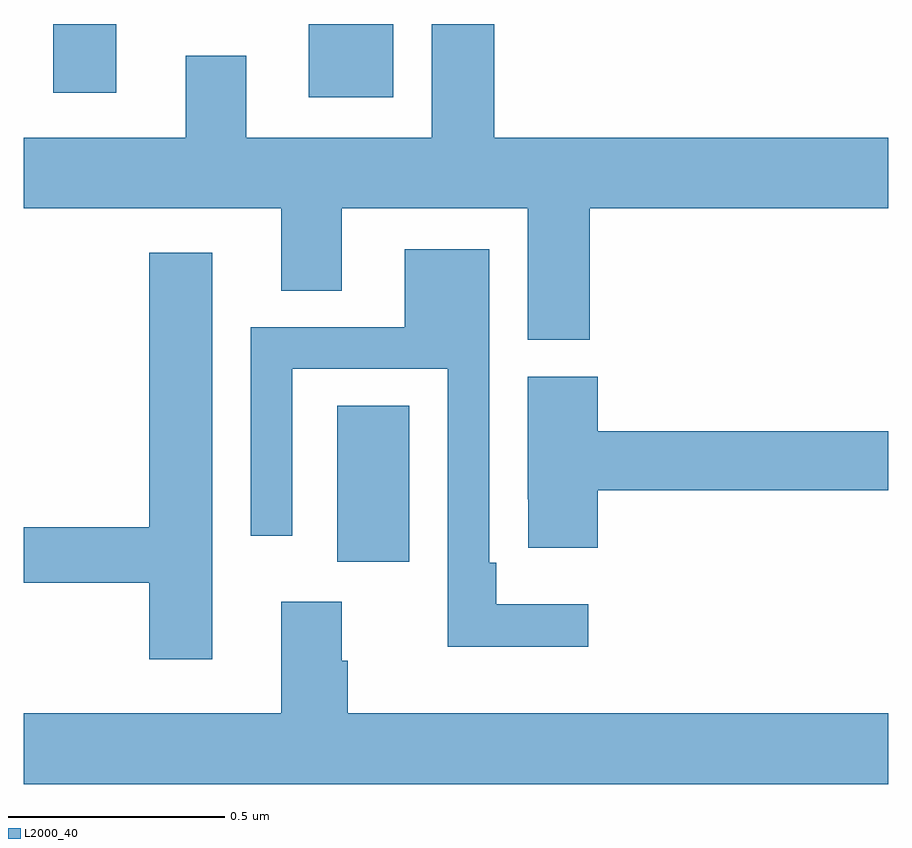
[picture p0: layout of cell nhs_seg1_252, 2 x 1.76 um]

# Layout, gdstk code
import gdstk
lib = gdstk.Library(unit=1e-6, precision=1e-09)
def R(c, l, rs):  # rectangles x0, y0, x1, y1
    for r in rs: c.add(gdstk.rectangle(r[:2], r[2:], *l))
def P(c, l, *ps):  # polygons
    for p in ps: c.add(gdstk.Polygon(p, *l))
L2000_40 = (2000, 40)

nhs_seg1_252 = lib.new_cell('nhs_seg1_252')
R(nhs_seg1_252, L2000_40, [(114.725,510.954,114.892,511.316), (114.659,512.03,114.855,512.199), (114.068,512.04,114.214,512.199)])
P(nhs_seg1_252, L2000_40, [(115.31,511.772),(116,511.772),(116,511.936),(115.088,511.936),(115.088,512.199),(114.944,512.199),(114.944,511.936),(114.514,511.936),(114.514,512.126),(114.374,512.126),(114.374,511.936),(114,511.936),(114,511.772),(114.596,511.772),(114.596,511.582),(114.736,511.582),(114.736,511.772),(115.166,511.772),(115.166,511.468),(115.31,511.468)],
  [(115.306,510.856),(115.093,510.856),(115.093,510.952),(115.077,510.952),(115.077,511.678),(114.881,511.678),(114.881,511.497),(114.525,511.497),(114.525,511.014),(114.621,511.014),(114.621,511.401),(114.981,511.401),(114.981,510.758),(115.306,510.758)],
  [(114.436,511.669),(114.29,511.669),(114.29,511.034),(114,511.034),(114,510.906),(114.29,510.906),(114.29,510.729),(114.436,510.729)],
  [(115.328,511.12),(116,511.12),(116,511.256),(115.328,511.256),(115.328,511.383),(115.166,511.383),(115.166,511.099),(115.167,511.099),(115.167,510.987),(115.328,510.987)],
  [(116,510.604),(114.749,510.604),(114.749,510.725),(114.736,510.725),(114.736,510.862),(114.596,510.862),(114.596,510.604),(114,510.604),(114,510.44),(116,510.44)])

lib.write_gds('nhs_seg1_252.gds')
